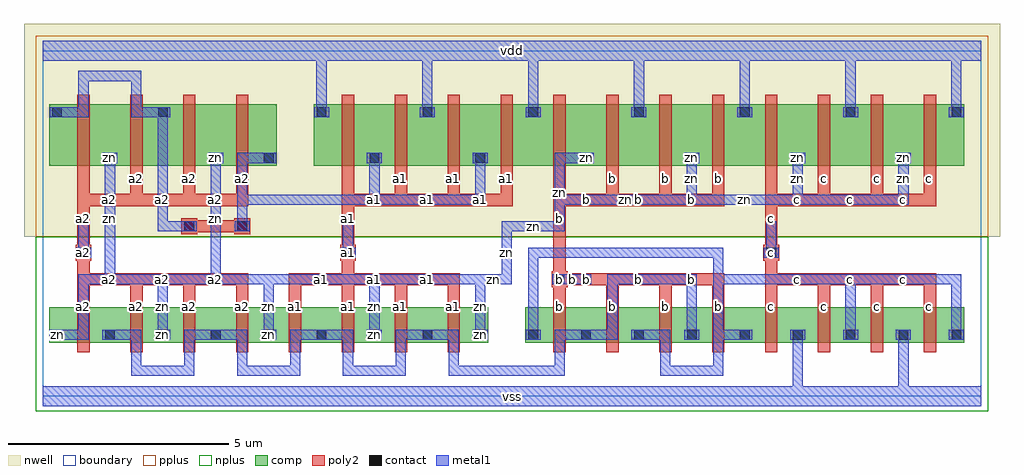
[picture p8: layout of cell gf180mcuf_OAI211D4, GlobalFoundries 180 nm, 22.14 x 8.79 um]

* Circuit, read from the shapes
.subckt gf180mcuf_OAI211D4 a1 a2 b c vdd vss zn
XM1 n1 a2 zn VSUBS nfet_03v3 w=0.8u l=0.28u m=4
XM2 n1 a1 zn VSUBS nfet_03v3 w=0.8u l=0.28u m=4
XM3 n1 b n2 VSUBS nfet_03v3 w=0.8u l=0.28u m=4
XM4 vss c n2 VSUBS nfet_03v3 w=0.8u l=0.28u m=4
XM5 zn a2 n3 n4 pfet_03v3 w=1.4u l=0.28u m=4
XM6 n3 a1 vdd n4 pfet_03v3 w=1.4u l=0.28u m=4
XM7 zn b vdd n4 pfet_03v3 w=1.4u l=0.28u m=4
XM8 zn c vdd n4 pfet_03v3 w=1.4u l=0.28u m=4
.ends

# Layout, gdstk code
import gdstk
lib = gdstk.Library(unit=1e-6, precision=1e-09)
def R(c, l, rs):  # rectangles x0, y0, x1, y1
    for r in rs: c.add(gdstk.rectangle(r[:2], r[2:], *l))
def A(c, l, x, y, w, h, nx, ny, dx, dy):  # array of equal rectangles
    R(c, l, [(x+i*dx, y+j*dy, x+i*dx+w, y+j*dy+h) for i in range(nx) for j in range(ny)])
boundary = (0, 0)
nwell = (21, 0)
comp = (22, 0)
poly2 = (30, 0)
pplus = (31, 0)
nplus = (32, 0)
contact = (33, 0)
metal1 = (34, 0)

gf180mcuf_oai211d4 = lib.new_cell('gf180mcuf_OAI211D4')
R(gf180mcuf_oai211d4, boundary, [(0,0,21.28,7.84)])
R(gf180mcuf_oai211d4, nwell, [(-0.43,3.62,21.71,8.45)])
A(gf180mcuf_oai211d4, comp, 0.14, 1.215, 1.56, 0.8, 8, 1, 1.2, 0)
A(gf180mcuf_oai211d4, comp, 0.14, 1.215, 0.36, 0.36, 18, 1, 1.2, 0)
A(gf180mcuf_oai211d4, comp, 10.94, 1.215, 1.56, 0.8, 8, 1, 1.2, 0)
A(gf180mcuf_oai211d4, comp, 0.14, 5.225, 1.56, 1.4, 4, 1, 1.2, 0)
A(gf180mcuf_oai211d4, comp, 4.94, 5.225, 0.36, 0.36, 7, 1, 2.4, 0)
A(gf180mcuf_oai211d4, comp, 6.14, 5.225, 1.56, 1.4, 12, 1, 1.2, 0)
A(gf180mcuf_oai211d4, comp, 6.14, 6.265, 0.36, 0.36, 7, 1, 2.4, 0)
R(gf180mcuf_oai211d4, comp, [(1.34,5.225,1.7,5.585), (3.74,5.225,4.1,5.585), (0.14,6.265,0.5,6.625), (2.54,6.265,2.9,6.625)])
A(gf180mcuf_oai211d4, poly2, 0.78, 0.995, 0.28, 1.24, 8, 1, 1.2, 0)
A(gf180mcuf_oai211d4, poly2, 11.58, 0.995, 0.28, 1.24, 8, 1, 1.2, 0)
A(gf180mcuf_oai211d4, poly2, 0.78, 1.255, 0.28, 1.54, 8, 1, 1.2, 0)
A(gf180mcuf_oai211d4, poly2, 11.58, 1.255, 0.28, 1.54, 8, 1, 1.2, 0)
A(gf180mcuf_oai211d4, poly2, 0.78, 2.515, 1.48, 0.28, 3, 2, 1.2, 1.8)
A(gf180mcuf_oai211d4, poly2, 5.58, 2.515, 1.48, 0.28, 3, 1, 1.2, 0)
A(gf180mcuf_oai211d4, poly2, 6.78, 2.515, 0.28, 3.03, 3, 1, 4.8, 0)
A(gf180mcuf_oai211d4, poly2, 11.58, 2.515, 1.48, 0.28, 3, 2, 1.2, 1.8)
A(gf180mcuf_oai211d4, poly2, 16.38, 2.515, 1.48, 0.28, 3, 2, 1.2, 1.8)
A(gf180mcuf_oai211d4, poly2, 1.98, 4.315, 0.28, 1.23, 3, 1, 1.2, 0)
A(gf180mcuf_oai211d4, poly2, 6.78, 4.315, 1.48, 0.28, 3, 1, 1.2, 0)
A(gf180mcuf_oai211d4, poly2, 7.98, 4.315, 0.28, 1.23, 3, 1, 1.2, 0)
A(gf180mcuf_oai211d4, poly2, 12.78, 4.315, 0.28, 1.23, 3, 1, 1.2, 0)
A(gf180mcuf_oai211d4, poly2, 17.58, 4.315, 0.28, 1.23, 3, 1, 1.2, 0)
A(gf180mcuf_oai211d4, poly2, 0.78, 5.005, 0.28, 1.84, 4, 1, 1.2, 0)
A(gf180mcuf_oai211d4, poly2, 6.78, 5.005, 0.28, 1.84, 12, 1, 1.2, 0)
R(gf180mcuf_oai211d4, poly2, [(11.54,2.475,11.9,2.835), (0.78,2.515,1.06,5.545), (0.74,3.075,1.1,3.435), (6.74,3.075,7.1,3.435), (16.34,3.075,16.7,3.435), (3.14,3.675,3.5,4.035), (4.34,3.675,4.7,4.035), (3.18,3.715,4.66,3.995)])
R(gf180mcuf_oai211d4, pplus, [(-0.16,3.62,21.44,7.5), (-0.16,7.5,21.44,8.18)])
R(gf180mcuf_oai211d4, nplus, [(-0.16,-0.34,21.44,0.34), (-0.16,0.34,21.44,3.62)])
A(gf180mcuf_oai211d4, contact, 0.21, 1.285, 0.22, 0.22, 18, 1, 1.2, 0)
A(gf180mcuf_oai211d4, contact, 5.01, 5.295, 0.22, 0.22, 7, 1, 2.4, 0)
A(gf180mcuf_oai211d4, contact, 6.21, 6.335, 0.22, 0.22, 7, 1, 2.4, 0)
R(gf180mcuf_oai211d4, contact, [(11.61,2.545,11.83,2.765), (0.81,3.145,1.03,3.365), (6.81,3.145,7.03,3.365), (16.41,3.145,16.63,3.365), (3.21,3.745,3.43,3.965), (4.41,3.745,4.63,3.965), (1.41,5.295,1.63,5.515), (3.81,5.295,4.03,5.515), (0.21,6.335,0.43,6.555), (2.61,6.335,2.83,6.555)])
A(gf180mcuf_oai211d4, metal1, 2.005, 0.46, 1.43, 0.23, 3, 1, 2.4, 0)
A(gf180mcuf_oai211d4, metal1, 2.005, 0.46, 0.23, 1.05, 7, 1, 1.2, 0)
A(gf180mcuf_oai211d4, metal1, 0.15, 1.28, 0.34, 0.23, 18, 1, 1.2, 0)
A(gf180mcuf_oai211d4, metal1, 2.605, 1.28, 0.23, 1.49, 4, 1, 2.4, 0)
A(gf180mcuf_oai211d4, metal1, 2.605, 2.54, 2.63, 0.23, 3, 1, 2.4, 0)
A(gf180mcuf_oai211d4, metal1, 14.605, 4.34, 0.23, 1.18, 3, 1, 2.4, 0)
A(gf180mcuf_oai211d4, metal1, 4.95, 5.29, 0.34, 0.23, 7, 1, 2.4, 0)
A(gf180mcuf_oai211d4, metal1, 6.15, 6.33, 0.34, 0.23, 7, 1, 2.4, 0)
A(gf180mcuf_oai211d4, metal1, 6.205, 6.33, 0.23, 1.445, 7, 1, 2.4, 0)
R(gf180mcuf_oai211d4, metal1, [(0,-0.23,21.28,0.23), (17.005,0.065,17.235,1.51), (19.405,0.065,19.635,1.51), (9.205,0.46,11.835,0.69), (11.605,0.46,11.835,1.51), (14.005,0.46,15.435,0.69), (14.005,0.46,14.235,1.51), (15.205,0.46,15.435,3.37), (0.205,1.28,1.035,1.51), (0.805,1.28,1.035,2.77), (1.405,1.28,2.235,1.51), (3.205,1.28,4.035,1.51), (3.805,1.28,4.635,1.51), (5.605,1.28,6.435,1.51), (6.205,1.28,7.035,1.51), (8.005,1.28,8.835,1.51), (8.605,1.28,9.435,1.51), (11.005,1.28,11.235,3.37), (11.605,1.28,12.435,1.51), (12.205,1.28,13.035,1.51), (12.805,1.28,13.035,2.77), (13.405,1.28,14.235,1.51), (14.605,1.28,14.835,2.77), (15.205,1.28,16.035,1.51), (18.205,1.28,18.435,2.77), (20.605,1.28,20.835,2.77), (0.805,2.54,2.835,2.77), (1.405,2.54,1.635,5.52), (3.805,2.54,4.035,5.52), (9.805,2.54,10.635,2.77), (10.405,2.54,10.635,3.97), (11.55,2.54,11.89,2.77), (11.605,2.54,12.435,2.77), (12.805,2.54,14.835,2.77), (15.205,2.54,18.435,2.77), (18.205,2.54,20.835,2.77), (0.75,3.14,1.09,3.37), (0.805,3.14,1.035,3.97), (6.75,3.14,7.09,3.37), (6.805,3.14,7.035,3.97), (11.005,3.14,15.435,3.37), (16.35,3.14,16.69,3.37), (16.405,3.14,16.635,3.97), (2.605,3.74,2.835,6.56), (2.605,3.74,3.435,3.97), (3.15,3.74,3.49,3.97), (4.35,3.74,4.69,3.97), (4.405,3.74,4.635,5.52), (10.405,3.74,11.835,3.97), (11.605,3.74,11.835,5.52), (4.405,4.34,7.635,4.57), (7.405,4.34,10.035,4.57), (7.405,4.34,7.635,5.52), (9.805,4.34,10.035,5.52), (11.605,4.34,14.835,4.57), (14.605,4.34,17.235,4.57), (17.005,4.34,19.635,4.57), (1.35,5.29,1.69,5.52), (3.75,5.29,4.09,5.52), (4.405,5.29,5.235,5.52), (11.605,5.29,12.435,5.52), (0.15,6.33,0.49,6.56), (0.205,6.33,1.035,6.56), (0.805,6.33,1.035,7.38), (2.005,6.33,2.835,6.56), (2.005,6.33,2.235,7.38), (2.55,6.33,2.89,6.56), (0.805,7.15,2.235,7.38), (0,7.61,21.28,8.07)])
gf180mcuf_oai211d4.add(gdstk.FlexPath([(0.14,0.575),(20.9,0.575)], 0, ends="flush", simple_path=True, layer=0, datatype=0))  # boundary
gf180mcuf_oai211d4.add(gdstk.FlexPath([(0.14,1.395),(20.9,1.395)], 0, ends="flush", simple_path=True, layer=0, datatype=0))  # boundary
gf180mcuf_oai211d4.add(gdstk.FlexPath([(0.14,2.655),(20.9,2.655)], 0, ends="flush", simple_path=True, layer=0, datatype=0))  # boundary
gf180mcuf_oai211d4.add(gdstk.FlexPath([(0.14,3.255),(20.9,3.255)], 0, ends="flush", simple_path=True, layer=0, datatype=0))  # boundary
gf180mcuf_oai211d4.add(gdstk.FlexPath([(0.14,3.855),(20.9,3.855)], 0, ends="flush", simple_path=True, layer=0, datatype=0))  # boundary
gf180mcuf_oai211d4.add(gdstk.FlexPath([(0.14,4.455),(20.9,4.455)], 0, ends="flush", simple_path=True, layer=0, datatype=0))  # boundary
gf180mcuf_oai211d4.add(gdstk.FlexPath([(0.14,5.405),(20.9,5.405)], 0, ends="flush", simple_path=True, layer=0, datatype=0))  # boundary
gf180mcuf_oai211d4.add(gdstk.FlexPath([(0.14,6.445),(20.9,6.445)], 0, ends="flush", simple_path=True, layer=0, datatype=0))  # boundary
gf180mcuf_oai211d4.add(gdstk.FlexPath([(0.14,7.265),(20.9,7.265)], 0, ends="flush", simple_path=True, layer=0, datatype=0))  # boundary
gf180mcuf_oai211d4.add(gdstk.FlexPath([(0.32,0.065),(0.32,7.775)], 0, ends="flush", simple_path=True, layer=0, datatype=0))  # boundary
gf180mcuf_oai211d4.add(gdstk.FlexPath([(0.92,0.065),(0.92,7.775)], 0, ends="flush", simple_path=True, layer=0, datatype=0))  # boundary
gf180mcuf_oai211d4.add(gdstk.FlexPath([(1.52,0.065),(1.52,7.775)], 0, ends="flush", simple_path=True, layer=0, datatype=0))  # boundary
gf180mcuf_oai211d4.add(gdstk.FlexPath([(2.12,0.065),(2.12,7.775)], 0, ends="flush", simple_path=True, layer=0, datatype=0))  # boundary
gf180mcuf_oai211d4.add(gdstk.FlexPath([(2.72,0.065),(2.72,7.775)], 0, ends="flush", simple_path=True, layer=0, datatype=0))  # boundary
gf180mcuf_oai211d4.add(gdstk.FlexPath([(3.32,0.065),(3.32,7.775)], 0, ends="flush", simple_path=True, layer=0, datatype=0))  # boundary
gf180mcuf_oai211d4.add(gdstk.FlexPath([(3.92,0.065),(3.92,7.775)], 0, ends="flush", simple_path=True, layer=0, datatype=0))  # boundary
gf180mcuf_oai211d4.add(gdstk.FlexPath([(4.52,0.065),(4.52,7.775)], 0, ends="flush", simple_path=True, layer=0, datatype=0))  # boundary
gf180mcuf_oai211d4.add(gdstk.FlexPath([(5.12,0.065),(5.12,7.775)], 0, ends="flush", simple_path=True, layer=0, datatype=0))  # boundary
gf180mcuf_oai211d4.add(gdstk.FlexPath([(5.72,0.065),(5.72,7.775)], 0, ends="flush", simple_path=True, layer=0, datatype=0))  # boundary
gf180mcuf_oai211d4.add(gdstk.FlexPath([(6.32,0.065),(6.32,7.775)], 0, ends="flush", simple_path=True, layer=0, datatype=0))  # boundary
gf180mcuf_oai211d4.add(gdstk.FlexPath([(6.92,0.065),(6.92,7.775)], 0, ends="flush", simple_path=True, layer=0, datatype=0))  # boundary
gf180mcuf_oai211d4.add(gdstk.FlexPath([(7.52,0.065),(7.52,7.775)], 0, ends="flush", simple_path=True, layer=0, datatype=0))  # boundary
gf180mcuf_oai211d4.add(gdstk.FlexPath([(8.12,0.065),(8.12,7.775)], 0, ends="flush", simple_path=True, layer=0, datatype=0))  # boundary
gf180mcuf_oai211d4.add(gdstk.FlexPath([(8.72,0.065),(8.72,7.775)], 0, ends="flush", simple_path=True, layer=0, datatype=0))  # boundary
gf180mcuf_oai211d4.add(gdstk.FlexPath([(9.32,0.065),(9.32,7.775)], 0, ends="flush", simple_path=True, layer=0, datatype=0))  # boundary
gf180mcuf_oai211d4.add(gdstk.FlexPath([(9.92,0.065),(9.92,7.775)], 0, ends="flush", simple_path=True, layer=0, datatype=0))  # boundary
gf180mcuf_oai211d4.add(gdstk.FlexPath([(10.52,0.065),(10.52,7.775)], 0, ends="flush", simple_path=True, layer=0, datatype=0))  # boundary
gf180mcuf_oai211d4.add(gdstk.FlexPath([(11.12,0.065),(11.12,7.775)], 0, ends="flush", simple_path=True, layer=0, datatype=0))  # boundary
gf180mcuf_oai211d4.add(gdstk.FlexPath([(11.72,0.065),(11.72,7.775)], 0, ends="flush", simple_path=True, layer=0, datatype=0))  # boundary
gf180mcuf_oai211d4.add(gdstk.FlexPath([(12.32,0.065),(12.32,7.775)], 0, ends="flush", simple_path=True, layer=0, datatype=0))  # boundary
gf180mcuf_oai211d4.add(gdstk.FlexPath([(12.92,0.065),(12.92,7.775)], 0, ends="flush", simple_path=True, layer=0, datatype=0))  # boundary
gf180mcuf_oai211d4.add(gdstk.FlexPath([(13.52,0.065),(13.52,7.775)], 0, ends="flush", simple_path=True, layer=0, datatype=0))  # boundary
gf180mcuf_oai211d4.add(gdstk.FlexPath([(14.12,0.065),(14.12,7.775)], 0, ends="flush", simple_path=True, layer=0, datatype=0))  # boundary
gf180mcuf_oai211d4.add(gdstk.FlexPath([(14.72,0.065),(14.72,7.775)], 0, ends="flush", simple_path=True, layer=0, datatype=0))  # boundary
gf180mcuf_oai211d4.add(gdstk.FlexPath([(15.32,0.065),(15.32,7.775)], 0, ends="flush", simple_path=True, layer=0, datatype=0))  # boundary
gf180mcuf_oai211d4.add(gdstk.FlexPath([(15.92,0.065),(15.92,7.775)], 0, ends="flush", simple_path=True, layer=0, datatype=0))  # boundary
gf180mcuf_oai211d4.add(gdstk.FlexPath([(16.52,0.065),(16.52,7.775)], 0, ends="flush", simple_path=True, layer=0, datatype=0))  # boundary
gf180mcuf_oai211d4.add(gdstk.FlexPath([(17.12,0.065),(17.12,7.775)], 0, ends="flush", simple_path=True, layer=0, datatype=0))  # boundary
gf180mcuf_oai211d4.add(gdstk.FlexPath([(17.72,0.065),(17.72,7.775)], 0, ends="flush", simple_path=True, layer=0, datatype=0))  # boundary
gf180mcuf_oai211d4.add(gdstk.FlexPath([(18.32,0.065),(18.32,7.775)], 0, ends="flush", simple_path=True, layer=0, datatype=0))  # boundary
gf180mcuf_oai211d4.add(gdstk.FlexPath([(18.92,0.065),(18.92,7.775)], 0, ends="flush", simple_path=True, layer=0, datatype=0))  # boundary
gf180mcuf_oai211d4.add(gdstk.FlexPath([(19.52,0.065),(19.52,7.775)], 0, ends="flush", simple_path=True, layer=0, datatype=0))  # boundary
gf180mcuf_oai211d4.add(gdstk.FlexPath([(20.12,0.065),(20.12,7.775)], 0, ends="flush", simple_path=True, layer=0, datatype=0))  # boundary
gf180mcuf_oai211d4.add(gdstk.FlexPath([(20.72,0.065),(20.72,7.775)], 0, ends="flush", simple_path=True, layer=0, datatype=0))  # boundary
gf180mcuf_oai211d4.add(gdstk.Label('zn', (0.32,1.395), layer=22, texttype=0))
gf180mcuf_oai211d4.add(gdstk.Label('zn', (2.72,1.395), layer=22, texttype=0))
gf180mcuf_oai211d4.add(gdstk.Label('zn', (5.12,1.395), layer=22, texttype=0))
gf180mcuf_oai211d4.add(gdstk.Label('zn', (7.52,1.395), layer=22, texttype=0))
gf180mcuf_oai211d4.add(gdstk.Label('zn', (9.92,1.395), layer=22, texttype=0))
gf180mcuf_oai211d4.add(gdstk.Label('zn', (1.52,5.405), layer=22, texttype=0))
gf180mcuf_oai211d4.add(gdstk.Label('zn', (3.92,5.405), layer=22, texttype=0))
gf180mcuf_oai211d4.add(gdstk.Label('zn', (12.32,5.405), layer=22, texttype=0))
gf180mcuf_oai211d4.add(gdstk.Label('zn', (14.72,5.405), layer=22, texttype=0))
gf180mcuf_oai211d4.add(gdstk.Label('zn', (17.12,5.405), layer=22, texttype=0))
gf180mcuf_oai211d4.add(gdstk.Label('zn', (19.52,5.405), layer=22, texttype=0))
gf180mcuf_oai211d4.add(gdstk.Label('a2', (0.92,2.025), layer=30, texttype=0))
gf180mcuf_oai211d4.add(gdstk.Label('a2', (1.52,2.655), layer=30, texttype=0))
gf180mcuf_oai211d4.add(gdstk.Label('a2', (2.12,2.025), layer=30, texttype=0))
gf180mcuf_oai211d4.add(gdstk.Label('a2', (2.72,2.655), layer=30, texttype=0))
gf180mcuf_oai211d4.add(gdstk.Label('a2', (3.32,2.025), layer=30, texttype=0))
gf180mcuf_oai211d4.add(gdstk.Label('a2', (3.92,2.655), layer=30, texttype=0))
gf180mcuf_oai211d4.add(gdstk.Label('a2', (4.52,2.025), layer=30, texttype=0))
gf180mcuf_oai211d4.add(gdstk.Label('a2', (0.92,4.03), layer=30, texttype=0))
gf180mcuf_oai211d4.add(gdstk.Label('a2', (1.52,4.455), layer=30, texttype=0))
gf180mcuf_oai211d4.add(gdstk.Label('a2', (2.12,4.93), layer=30, texttype=0))
gf180mcuf_oai211d4.add(gdstk.Label('a2', (2.72,4.455), layer=30, texttype=0))
gf180mcuf_oai211d4.add(gdstk.Label('a2', (3.32,4.93), layer=30, texttype=0))
gf180mcuf_oai211d4.add(gdstk.Label('a2', (3.92,4.455), layer=30, texttype=0))
gf180mcuf_oai211d4.add(gdstk.Label('a2', (4.52,4.93), layer=30, texttype=0))
gf180mcuf_oai211d4.add(gdstk.Label('a2', (0.92,3.255), layer=30, texttype=0))
gf180mcuf_oai211d4.add(gdstk.Label('a1', (5.72,2.025), layer=30, texttype=0))
gf180mcuf_oai211d4.add(gdstk.Label('a1', (6.32,2.655), layer=30, texttype=0))
gf180mcuf_oai211d4.add(gdstk.Label('a1', (6.92,2.025), layer=30, texttype=0))
gf180mcuf_oai211d4.add(gdstk.Label('a1', (7.52,2.655), layer=30, texttype=0))
gf180mcuf_oai211d4.add(gdstk.Label('a1', (8.12,2.025), layer=30, texttype=0))
gf180mcuf_oai211d4.add(gdstk.Label('a1', (8.72,2.655), layer=30, texttype=0))
gf180mcuf_oai211d4.add(gdstk.Label('a1', (9.32,2.025), layer=30, texttype=0))
gf180mcuf_oai211d4.add(gdstk.Label('a1', (6.92,4.03), layer=30, texttype=0))
gf180mcuf_oai211d4.add(gdstk.Label('a1', (7.52,4.455), layer=30, texttype=0))
gf180mcuf_oai211d4.add(gdstk.Label('a1', (8.12,4.93), layer=30, texttype=0))
gf180mcuf_oai211d4.add(gdstk.Label('a1', (8.72,4.455), layer=30, texttype=0))
gf180mcuf_oai211d4.add(gdstk.Label('a1', (9.32,4.93), layer=30, texttype=0))
gf180mcuf_oai211d4.add(gdstk.Label('a1', (9.92,4.455), layer=30, texttype=0))
gf180mcuf_oai211d4.add(gdstk.Label('a1', (10.52,4.93), layer=30, texttype=0))
gf180mcuf_oai211d4.add(gdstk.Label('a1', (6.92,3.255), layer=30, texttype=0))
gf180mcuf_oai211d4.add(gdstk.Label('b', (11.72,2.025), layer=30, texttype=0))
gf180mcuf_oai211d4.add(gdstk.Label('b', (12.32,2.655), layer=30, texttype=0))
gf180mcuf_oai211d4.add(gdstk.Label('b', (12.92,2.025), layer=30, texttype=0))
gf180mcuf_oai211d4.add(gdstk.Label('b', (13.52,2.655), layer=30, texttype=0))
gf180mcuf_oai211d4.add(gdstk.Label('b', (14.12,2.025), layer=30, texttype=0))
gf180mcuf_oai211d4.add(gdstk.Label('b', (14.72,2.655), layer=30, texttype=0))
gf180mcuf_oai211d4.add(gdstk.Label('b', (15.32,2.025), layer=30, texttype=0))
gf180mcuf_oai211d4.add(gdstk.Label('b', (11.72,4.03), layer=30, texttype=0))
gf180mcuf_oai211d4.add(gdstk.Label('b', (12.32,4.455), layer=30, texttype=0))
gf180mcuf_oai211d4.add(gdstk.Label('b', (12.92,4.93), layer=30, texttype=0))
gf180mcuf_oai211d4.add(gdstk.Label('b', (13.52,4.455), layer=30, texttype=0))
gf180mcuf_oai211d4.add(gdstk.Label('b', (14.12,4.93), layer=30, texttype=0))
gf180mcuf_oai211d4.add(gdstk.Label('b', (14.72,4.455), layer=30, texttype=0))
gf180mcuf_oai211d4.add(gdstk.Label('b', (15.32,4.93), layer=30, texttype=0))
gf180mcuf_oai211d4.add(gdstk.Label('b', (11.72,2.655), layer=30, texttype=0))
gf180mcuf_oai211d4.add(gdstk.Label('c', (16.52,2.025), layer=30, texttype=0))
gf180mcuf_oai211d4.add(gdstk.Label('c', (17.12,2.655), layer=30, texttype=0))
gf180mcuf_oai211d4.add(gdstk.Label('c', (17.72,2.025), layer=30, texttype=0))
gf180mcuf_oai211d4.add(gdstk.Label('c', (18.32,2.655), layer=30, texttype=0))
gf180mcuf_oai211d4.add(gdstk.Label('c', (18.92,2.025), layer=30, texttype=0))
gf180mcuf_oai211d4.add(gdstk.Label('c', (19.52,2.655), layer=30, texttype=0))
gf180mcuf_oai211d4.add(gdstk.Label('c', (20.12,2.025), layer=30, texttype=0))
gf180mcuf_oai211d4.add(gdstk.Label('c', (16.52,4.03), layer=30, texttype=0))
gf180mcuf_oai211d4.add(gdstk.Label('c', (17.12,4.455), layer=30, texttype=0))
gf180mcuf_oai211d4.add(gdstk.Label('c', (17.72,4.93), layer=30, texttype=0))
gf180mcuf_oai211d4.add(gdstk.Label('c', (18.32,4.455), layer=30, texttype=0))
gf180mcuf_oai211d4.add(gdstk.Label('c', (18.92,4.93), layer=30, texttype=0))
gf180mcuf_oai211d4.add(gdstk.Label('c', (19.52,4.455), layer=30, texttype=0))
gf180mcuf_oai211d4.add(gdstk.Label('c', (20.12,4.93), layer=30, texttype=0))
gf180mcuf_oai211d4.add(gdstk.Label('c', (16.52,3.255), layer=30, texttype=0))
gf180mcuf_oai211d4.add(gdstk.Label('zn', (0.32,1.395), layer=33, texttype=0))
gf180mcuf_oai211d4.add(gdstk.Label('zn', (2.72,1.395), layer=33, texttype=0))
gf180mcuf_oai211d4.add(gdstk.Label('zn', (5.12,1.395), layer=33, texttype=0))
gf180mcuf_oai211d4.add(gdstk.Label('zn', (7.52,1.395), layer=33, texttype=0))
gf180mcuf_oai211d4.add(gdstk.Label('zn', (9.92,1.395), layer=33, texttype=0))
gf180mcuf_oai211d4.add(gdstk.Label('zn', (1.52,5.405), layer=33, texttype=0))
gf180mcuf_oai211d4.add(gdstk.Label('zn', (3.92,5.405), layer=33, texttype=0))
gf180mcuf_oai211d4.add(gdstk.Label('zn', (12.32,5.405), layer=33, texttype=0))
gf180mcuf_oai211d4.add(gdstk.Label('zn', (14.72,5.405), layer=33, texttype=0))
gf180mcuf_oai211d4.add(gdstk.Label('zn', (17.12,5.405), layer=33, texttype=0))
gf180mcuf_oai211d4.add(gdstk.Label('zn', (19.52,5.405), layer=33, texttype=0))
gf180mcuf_oai211d4.add(gdstk.Label('a2', (0.92,3.255), layer=33, texttype=0))
gf180mcuf_oai211d4.add(gdstk.Label('a1', (6.92,3.255), layer=33, texttype=0))
gf180mcuf_oai211d4.add(gdstk.Label('b', (11.72,2.655), layer=33, texttype=0))
gf180mcuf_oai211d4.add(gdstk.Label('c', (16.52,3.255), layer=33, texttype=0))
gf180mcuf_oai211d4.add(gdstk.Label('zn', (0.32,1.395), layer=34, texttype=10))
gf180mcuf_oai211d4.add(gdstk.Label('zn', (2.72,1.395), layer=34, texttype=10))
gf180mcuf_oai211d4.add(gdstk.Label('zn', (5.12,1.395), layer=34, texttype=10))
gf180mcuf_oai211d4.add(gdstk.Label('zn', (7.52,1.395), layer=34, texttype=10))
gf180mcuf_oai211d4.add(gdstk.Label('zn', (9.92,1.395), layer=34, texttype=10))
gf180mcuf_oai211d4.add(gdstk.Label('zn', (1.52,5.405), layer=34, texttype=10))
gf180mcuf_oai211d4.add(gdstk.Label('zn', (3.92,5.405), layer=34, texttype=10))
gf180mcuf_oai211d4.add(gdstk.Label('zn', (12.32,5.405), layer=34, texttype=10))
gf180mcuf_oai211d4.add(gdstk.Label('zn', (14.72,5.405), layer=34, texttype=10))
gf180mcuf_oai211d4.add(gdstk.Label('zn', (17.12,5.405), layer=34, texttype=10))
gf180mcuf_oai211d4.add(gdstk.Label('zn', (19.52,5.405), layer=34, texttype=10))
gf180mcuf_oai211d4.add(gdstk.Label('zn', (0.62,1.395), layer=34, texttype=10))
gf180mcuf_oai211d4.add(gdstk.Label('zn', (0.92,2.025), layer=34, texttype=10))
gf180mcuf_oai211d4.add(gdstk.Label('zn', (1.82,2.655), layer=34, texttype=10))
gf180mcuf_oai211d4.add(gdstk.Label('zn', (2.72,2.025), layer=34, texttype=10))
gf180mcuf_oai211d4.add(gdstk.Label('zn', (3.92,2.655), layer=34, texttype=10))
gf180mcuf_oai211d4.add(gdstk.Label('zn', (5.12,2.025), layer=34, texttype=10))
gf180mcuf_oai211d4.add(gdstk.Label('zn', (6.32,2.655), layer=34, texttype=10))
gf180mcuf_oai211d4.add(gdstk.Label('zn', (7.52,2.025), layer=34, texttype=10))
gf180mcuf_oai211d4.add(gdstk.Label('zn', (8.72,2.655), layer=34, texttype=10))
gf180mcuf_oai211d4.add(gdstk.Label('zn', (9.92,2.025), layer=34, texttype=10))
gf180mcuf_oai211d4.add(gdstk.Label('zn', (1.52,4.03), layer=34, texttype=10))
gf180mcuf_oai211d4.add(gdstk.Label('zn', (3.92,4.03), layer=34, texttype=10))
gf180mcuf_oai211d4.add(gdstk.Label('zn', (10.22,2.655), layer=34, texttype=10))
gf180mcuf_oai211d4.add(gdstk.Label('zn', (10.52,3.255), layer=34, texttype=10))
gf180mcuf_oai211d4.add(gdstk.Label('zn', (11.12,3.855), layer=34, texttype=10))
gf180mcuf_oai211d4.add(gdstk.Label('zn', (11.72,4.63), layer=34, texttype=10))
gf180mcuf_oai211d4.add(gdstk.Label('zn', (12.02,5.405), layer=34, texttype=10))
gf180mcuf_oai211d4.add(gdstk.Label('zn', (13.22,4.455), layer=34, texttype=10))
gf180mcuf_oai211d4.add(gdstk.Label('zn', (14.72,4.93), layer=34, texttype=10))
gf180mcuf_oai211d4.add(gdstk.Label('zn', (15.92,4.455), layer=34, texttype=10))
gf180mcuf_oai211d4.add(gdstk.Label('zn', (17.12,4.93), layer=34, texttype=10))
gf180mcuf_oai211d4.add(gdstk.Label('zn', (18.32,4.455), layer=34, texttype=10))
gf180mcuf_oai211d4.add(gdstk.Label('zn', (19.52,4.93), layer=34, texttype=10))
gf180mcuf_oai211d4.add(gdstk.Label('a2', (0.92,3.255), layer=34, texttype=10))
gf180mcuf_oai211d4.add(gdstk.Label('a2', (0.92,3.555), layer=34, texttype=10))
gf180mcuf_oai211d4.add(gdstk.Label('a1', (6.92,3.255), layer=34, texttype=10))
gf180mcuf_oai211d4.add(gdstk.Label('a1', (6.92,3.555), layer=34, texttype=10))
gf180mcuf_oai211d4.add(gdstk.Label('b', (11.72,2.655), layer=34, texttype=10))
gf180mcuf_oai211d4.add(gdstk.Label('b', (12.02,2.655), layer=34, texttype=10))
gf180mcuf_oai211d4.add(gdstk.Label('c', (16.52,3.255), layer=34, texttype=10))
gf180mcuf_oai211d4.add(gdstk.Label('c', (16.52,3.555), layer=34, texttype=10))
gf180mcuf_oai211d4.add(gdstk.Label('vss', (10.64,0), layer=34, texttype=10))
gf180mcuf_oai211d4.add(gdstk.Label('vdd', (10.64,7.84), layer=34, texttype=10))

lib.write_gds('gf180mcuf_OAI211D4.gds')
